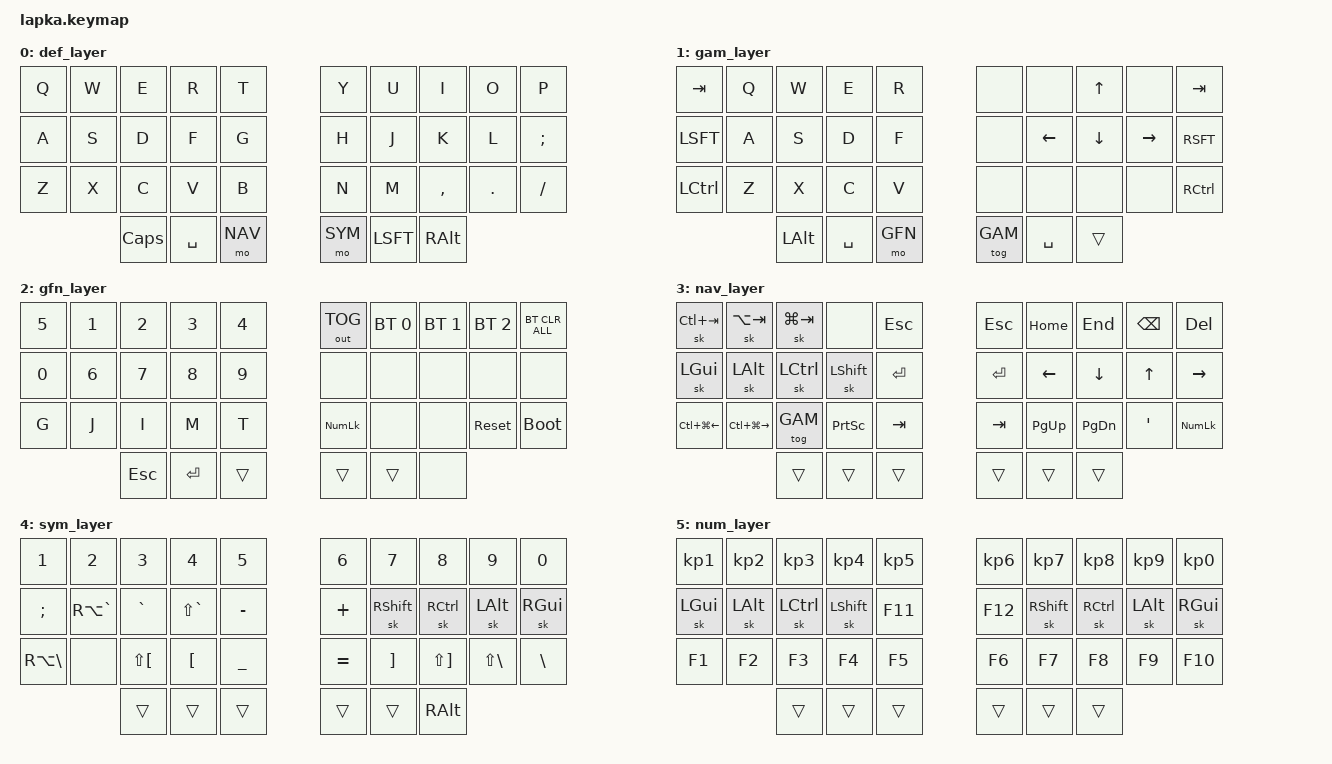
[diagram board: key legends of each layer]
#include <behaviors.dtsi>
#include <dt-bindings/zmk/ext_power.h>
#include <dt-bindings/zmk/outputs.h>
#include <dt-bindings/zmk/keys.h>
#include <dt-bindings/zmk/bt.h>

#define DEF 0
#define GAM 1
#define GFN 2
#define NAV 3
#define SYM 4
#define NUM 5

&sk {
    release-after-ms = <60000>;
};

/ {
    conditional_layers {
        compatible = "zmk,conditional-layers";
        tri_layer {
            if-layers  = <NAV SYM>;
            then-layer = <NUM>;
        };
    };
};

/ {
    keymap {
        compatible = "zmk,keymap";

        def_layer {
            bindings = <
&kp Q          &kp W          &kp E          &kp R         &kp T             &kp Y          &kp U          &kp I          &kp O          &kp P
&kp A          &kp S          &kp D          &kp F         &kp G             &kp H          &kp J          &kp K          &kp L          &kp SEMI
&kp Z          &kp X          &kp C          &kp V         &kp B             &kp N          &kp M          &kp COMMA      &kp DOT        &kp FSLH
                          &kp CAPS       &kp SPACE     &mo NAV         &mo SYM      &kp LSFT       &kp RALT
            >;
        };

        gam_layer {
            bindings = <
&kp TAB        &kp Q          &kp W          &kp E         &kp R             &none          &none          &kp UP         &none          &kp TAB
&kp LSFT       &kp A          &kp S          &kp D         &kp F             &none          &kp LEFT       &kp DOWN       &kp RIGHT      &kp RSFT
&kp LCTRL      &kp Z          &kp X          &kp C         &kp V             &none          &none          &none          &none          &kp RCTRL
                          &kp LALT       &kp SPACE     &mo GFN         &tog GAM     &kp SPACE      &trans
            >;
        };

        gfn_layer {
            bindings = <
&kp N5         &kp N1         &kp N2         &kp N3        &kp N4            &out OUT_TOG &bt BT_SEL 0 &bt BT_SEL 1   &bt BT_SEL 2 &bt BT_CLR_ALL
&kp N0         &kp N6         &kp N7         &kp N8        &kp N9            &none          &none          &none            &none          &none
&kp G          &kp J          &kp I          &kp M         &kp T             &kp KP_NUM     &none          &none            &sys_reset   &bootloader
                          &kp ESC        &kp RET       &trans          &trans       &trans       &none
            >;
        };

        nav_layer {
            bindings = <
&sk LC(TAB)  &sk LA(TAB)  &sk LG(TAB)  &none         &kp ESC           &kp ESC        &kp HOME       &kp END        &kp BSPC       &kp DEL
&sk LGUI     &sk LALT     &sk LCTRL    &sk LSHFT     &kp RET           &kp RET        &kp LEFT       &kp DOWN       &kp UP         &kp RIGHT
&kp LC(LG(LEFT))       &kp LC(LG(RIGHT))       &tog GAM     &kp PSCRN     &kp TAB           &kp TAB        &kp PG_UP      &kp PG_DN      &kp APOS       &kp KP_NUM
                          &trans      &trans      &trans          &trans       &trans       &trans
            >;
        };

        sym_layer {
            bindings = <
&kp N1         &kp N2         &kp N3         &kp N4        &kp N5            &kp N6         &kp N7         &kp N8         &kp N9         &kp N0
&kp SEMI       &kp RA(GRAVE)        &kp GRAVE        &kp LS(GRAVE)       &kp MINUS         &kp PLUS       &sk RSHFT    &sk RCTRL    &sk LALT     &sk RGUI
&kp RA(BSLH)        &none          &kp LS(LBKT)   &kp LBKT      &kp UNDER         &kp EQUAL      &kp RBKT       &kp LS(RBKT)   &kp LS(BSLH)        &kp BSLH
                          &trans       &trans      &trans          &trans       &trans       &kp RALT
            >;
        };

        num_layer {
            bindings = <
&kp KP_N1      &kp KP_N2      &kp KP_N3      &kp KP_N4     &kp KP_N5         &kp KP_N6      &kp KP_N7      &kp KP_N8      &kp KP_N9      &kp KP_N0
&sk LGUI     &sk LALT     &sk LCTRL    &sk LSHFT   &kp F11           &kp F12        &sk RSHFT    &sk RCTRL    &sk LALT     &sk RGUI
&kp F1         &kp F2         &kp F3         &kp F4        &kp F5            &kp F6         &kp F7         &kp F8         &kp F9         &kp F10
                          &trans       &trans      &trans          &trans       &trans       &trans
            >;
        };
    };
};
